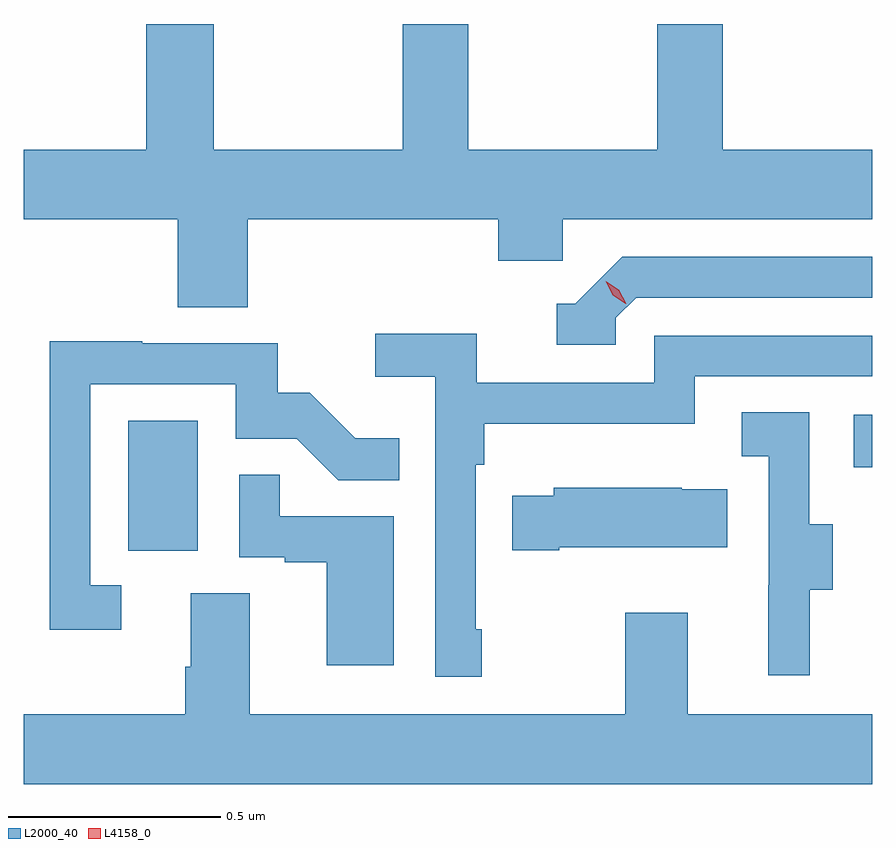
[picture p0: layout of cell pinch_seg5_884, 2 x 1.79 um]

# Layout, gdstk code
import gdstk
lib = gdstk.Library(unit=1e-6, precision=1e-09)
def R(c, l, rs):  # rectangles x0, y0, x1, y1
    for r in rs: c.add(gdstk.rectangle(r[:2], r[2:], *l))
def P(c, l, *ps):  # polygons
    for p in ps: c.add(gdstk.Polygon(p, *l))
L2000_40 = (2000, 40)
L4158_0 = (4158, 0)

pinch_seg5_884 = lib.new_cell('pinch_seg5_884')
R(pinch_seg5_884, L2000_40, [(837.092,881.286,837.256,881.593), (838.803,881.483,838.846,881.607)])
P(pinch_seg5_884, L2000_40, [(837.374,882.068),(837.965,882.068),(837.965,881.97),(838.116,881.97),(838.116,882.068),(838.846,882.068),(838.846,882.232),(838.494,882.232),(838.494,882.528),(838.339,882.528),(838.339,882.232),(837.894,882.232),(837.894,882.528),(837.739,882.528),(837.739,882.232),(837.294,882.232),(837.294,882.528),(837.134,882.528),(837.134,882.232),(836.846,882.232),(836.846,882.068),(837.209,882.068),(837.209,881.86),(837.374,881.86)],
  [(838.242,881.835),(838.29,881.883),(838.846,881.883),(838.846,881.979),(838.257,881.979),(838.146,881.868),(838.103,881.868),(838.103,881.772),(838.242,881.772)],
  [(837.925,881.101),(837.912,881.101),(837.912,881.489),(837.932,881.489),(837.932,881.585),(838.428,881.585),(838.428,881.697),(838.846,881.697),(838.846,881.793),(838.332,881.793),(838.332,881.682),(837.914,881.682),(837.914,881.798),(837.675,881.798),(837.675,881.696),(837.816,881.696),(837.816,880.989),(837.925,880.989)],
  [(837.076,881.205),(837.003,881.205),(837.003,881.679),(837.345,881.679),(837.345,881.55),(837.489,881.55),(837.587,881.452),(837.731,881.452),(837.731,881.551),(837.627,881.551),(837.52,881.658),(837.444,881.658),(837.444,881.775),(837.125,881.775),(837.125,881.78),(836.907,881.78),(836.907,881.1),(837.076,881.1)],
  [(838.699,881.194),(838.753,881.194),(838.753,881.349),(838.698,881.349),(838.698,881.612),(838.539,881.612),(838.539,881.509),(838.602,881.509),(838.602,881.205),(838.601,881.205),(838.601,880.992),(838.699,880.992)],
  [(837.718,881.367),(837.449,881.367),(837.449,881.465),(837.354,881.465),(837.354,881.271),(837.461,881.271),(837.461,881.259),(837.56,881.259),(837.56,881.016),(837.718,881.016)],
  [(838.108,881.294),(838.505,881.294),(838.505,881.431),(838.397,881.431),(838.397,881.434),(838.095,881.434),(838.095,881.416),(837.997,881.416),(837.997,881.287),(838.108,881.287)],
  [(838.846,880.9),(838.411,880.9),(838.411,881.14),(838.264,881.14),(838.264,880.9),(837.379,880.9),(837.379,881.186),(837.239,881.186),(837.239,881.012),(837.227,881.012),(837.227,880.9),(836.846,880.9),(836.846,880.736),(838.846,880.736)])
P(pinch_seg5_884, L4158_0, [(838.265,881.868),(838.234,881.888),(838.218,881.921),(838.218,881.921),(838.218,881.921),(838.249,881.901),(838.266,881.868),(838.266,881.868)])

lib.write_gds('pinch_seg5_884.gds')
